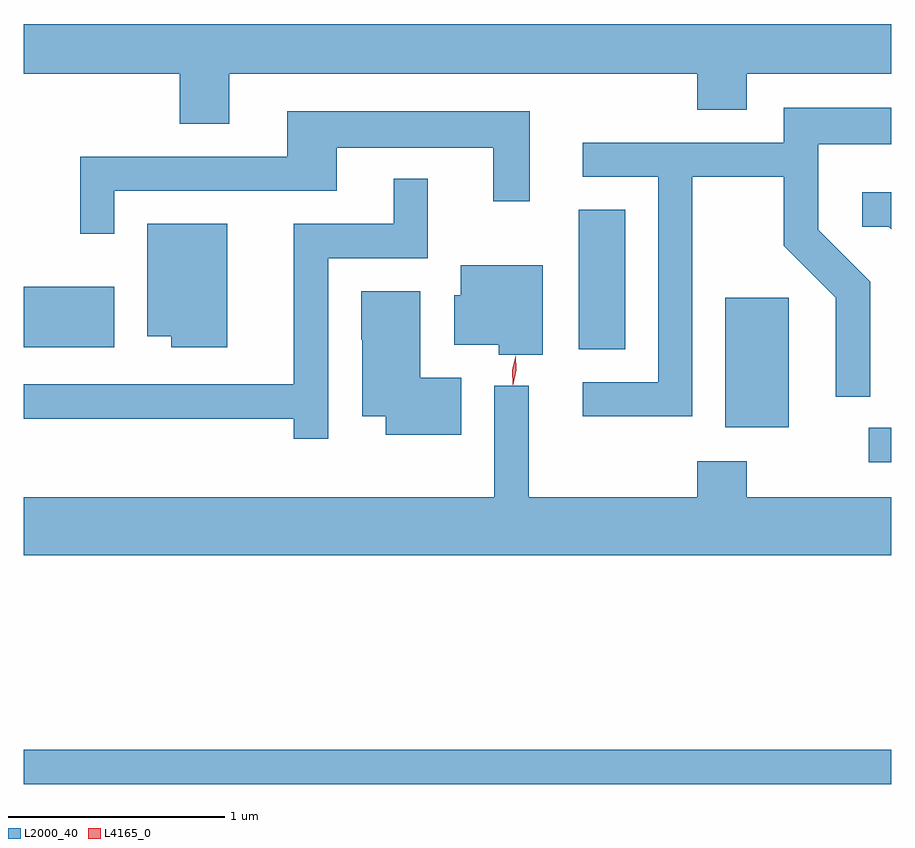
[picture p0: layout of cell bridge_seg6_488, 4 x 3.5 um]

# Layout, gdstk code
import gdstk
lib = gdstk.Library(unit=1e-6, precision=1e-09)
def R(c, l, rs):  # rectangles x0, y0, x1, y1
    for r in rs: c.add(gdstk.rectangle(r[:2], r[2:], *l))
def P(c, l, *ps):  # polygons
    for p in ps: c.add(gdstk.Polygon(p, *l))
L2000_40 = (2000, 40)
L4165_0 = (4165, 0)

bridge_seg6_488 = lib.new_cell('bridge_seg6_488')
R(bridge_seg6_488, L2000_40, [(989.736,1568.961,993.736,1569.119), (993.633,1570.446,993.736,1570.604), (992.971,1570.606,993.264,1571.204), (992.296,1570.966,992.509,1571.609), (989.736,1570.976,990.154,1571.254)])
P(bridge_seg6_488, L2000_40, [(990.684,1572.236),(992.841,1572.236),(992.841,1572.071),(993.069,1572.071),(993.069,1572.236),(993.736,1572.236),(993.736,1572.466),(989.736,1572.466),(989.736,1572.236),(990.456,1572.236),(990.456,1572.006),(990.684,1572.006)],
  [(992.819,1571.761),(993.241,1571.761),(993.241,1571.444),(993.481,1571.204),(993.481,1570.748),(993.639,1570.748),(993.639,1571.277),(993.399,1571.517),(993.399,1571.911),(993.736,1571.911),(993.736,1572.079),(993.241,1572.079),(993.241,1571.919),(992.313,1571.919),(992.313,1571.761),(992.661,1571.761),(992.661,1570.814),(992.313,1570.814),(992.313,1570.656),(992.819,1570.656)],
  [(990.154,1571.696),(991.179,1571.696),(991.179,1571.896),(991.901,1571.896),(991.901,1571.648),(992.069,1571.648),(992.069,1572.064),(990.951,1572.064),(990.951,1571.854),(989.996,1571.854),(989.996,1571.498),(990.154,1571.498)],
  [(991.139,1571.386),(991.599,1571.386),(991.599,1571.753),(991.441,1571.753),(991.441,1571.544),(990.981,1571.544),(990.981,1570.804),(989.736,1570.804),(989.736,1570.646),(990.981,1570.646),(990.981,1570.553),(991.139,1570.553)],
  [(993.736,1571.689),(993.603,1571.689),(993.603,1571.531),(993.724,1571.531),(993.736,1571.519)],
  [(990.674,1571.544),(990.306,1571.544),(990.306,1571.026),(990.416,1571.026),(990.416,1570.976),(990.674,1570.976)],
  [(992.129,1571.354),(991.751,1571.354),(991.751,1571.214),(991.721,1571.214),(991.721,1570.986),(991.926,1570.986),(991.926,1570.941),(992.129,1570.941)],
  [(991.754,1570.834),(991.564,1570.834),(991.564,1571.234),(991.291,1571.234),(991.291,1571.01),(991.296,1571.01),(991.296,1570.656),(991.406,1570.656),(991.406,1570.571),(991.754,1570.571)],
  [(993.736,1570.284),(993.069,1570.284),(993.069,1570.449),(992.841,1570.449),(992.841,1570.284),(992.064,1570.284),(992.064,1570.798),(991.906,1570.798),(991.906,1570.284),(989.736,1570.284),(989.736,1570.016),(993.736,1570.016)])
P(bridge_seg6_488, L4165_0, [(991.991,1570.803),(991.991,1570.803),(991.988,1570.87),(992.004,1570.935),(992.004,1570.936),(992.005,1570.935),(992.008,1570.868),(991.992,1570.803)])

lib.write_gds('bridge_seg6_488.gds')
